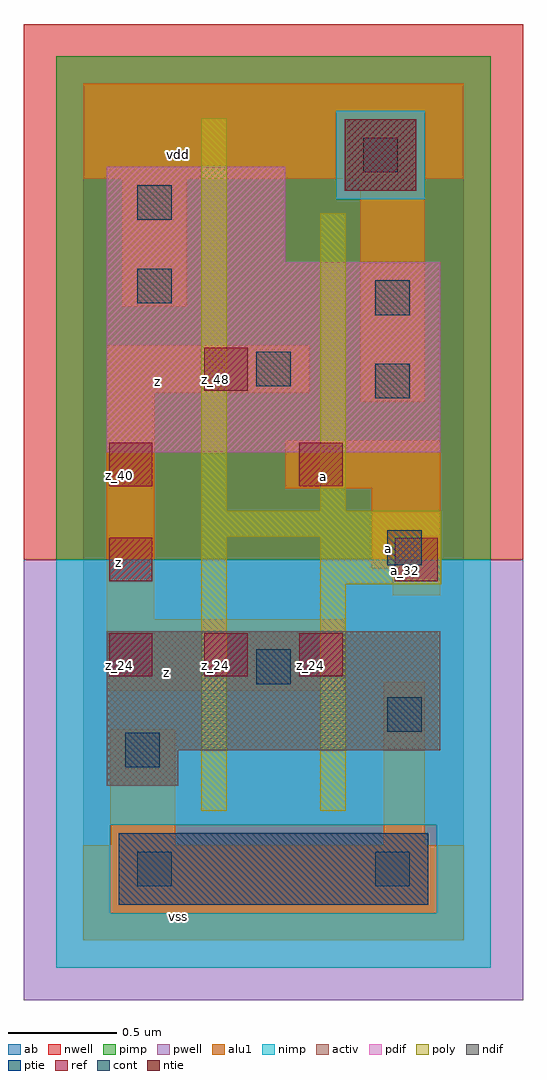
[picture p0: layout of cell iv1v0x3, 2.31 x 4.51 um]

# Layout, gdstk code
import gdstk
lib = gdstk.Library(unit=1e-6, precision=2.5e-09)
def R(c, l, rs):  # rectangles x0, y0, x1, y1
    for r in rs: c.add(gdstk.rectangle(r[:2], r[2:], *l))
def A(c, l, x, y, w, h, nx, ny, dx, dy):  # array of equal rectangles
    R(c, l, [(x+i*dx, y+j*dy, x+i*dx+w, y+j*dy+h) for i in range(nx) for j in range(ny)])
ndif = (3, 0)
pdif = (4, 0)
ntie = (5, 0)
ptie = (6, 0)
ref = (24, 0)
cont = (25, 0)
pwell = (41, 0)
nwell = (42, 0)
activ = (43, 0)
pimp = (44, 0)
nimp = (45, 0)
poly = (46, 0)
alu1 = (49, 0)
ab = (63, 0)

iv1v0x3 = lib.new_cell('iv1v0x3')
R(iv1v0x3, ndif, [(0.11,0.715,0.44,0.88), (0.11,0.88,1.65,1.43)])
R(iv1v0x3, pdif, [(0.11,2.255,1.65,3.135), (0.11,3.135,0.935,3.575)])
R(iv1v0x3, ntie, [(1.21,3.465,1.54,3.795)])
R(iv1v0x3, ptie, [(0.165,0.165,1.595,0.495)])
A(iv1v0x3, ref, 0.12, 1.22, 0.2, 0.2, 3, 1, 0.44, 0)
R(iv1v0x3, ref, [(0.12,1.66,0.32,1.86), (1.44,1.66,1.64,1.86), (0.12,2.1,0.32,2.3), (1,2.1,1.2,2.3), (0.56,2.54,0.76,2.74)])
R(iv1v0x3, cont, [(0.25,0.25,0.41,0.41), (1.35,0.25,1.51,0.41), (0.195,0.8,0.355,0.96), (1.405,0.965,1.565,1.125), (0.8,1.185,0.96,1.345), (1.405,1.735,1.565,1.895), (1.35,2.505,1.51,2.665), (0.8,2.56,0.96,2.72), (1.35,2.89,1.51,3.05), (0.25,2.945,0.41,3.105), (0.25,3.33,0.41,3.49), (1.295,3.55,1.455,3.71)])
R(iv1v0x3, pwell, [(-0.275,-0.275,2.035,1.76)])
R(iv1v0x3, nwell, [(-0.275,1.76,2.035,4.235)])
R(iv1v0x3, activ, [(0.165,0.165,1.595,0.495), (0.11,0.715,0.44,0.88), (0.11,0.88,1.65,1.43), (0.11,2.255,1.65,3.135), (0.11,3.135,0.935,3.575), (1.21,3.465,1.54,3.795)])
R(iv1v0x3, pimp, [(0.125,0.125,1.635,0.535), (-0.125,1.76,1.885,3.425), (-0.125,3.425,1.17,3.835), (1.58,3.425,1.885,3.835), (-0.125,3.835,1.885,4.085)])
R(iv1v0x3, nimp, [(-0.125,-0.125,1.885,0.125), (-0.125,0.125,0.125,0.535), (1.635,0.125,1.885,0.535), (-0.125,0.535,1.885,1.76), (1.17,3.425,1.58,3.835)])
R(iv1v0x3, poly, [(0.545,0.6,0.665,1.865), (1.095,0.6,1.215,1.645), (1.095,1.645,1.655,1.865), (0.545,1.865,1.655,1.985), (0.545,1.985,0.665,3.8), (1.095,1.985,1.215,3.36)])
R(iv1v0x3, alu1, [(0,0,1.76,0.44), (0.125,0.44,0.425,0.975), (1.39,0.44,1.58,1.195), (0.11,1.155,1.21,1.485), (0.11,1.485,0.33,2.53), (1.43,1.595,1.65,1.72), (1.335,1.72,1.65,2.09), (0.935,2.09,1.65,2.31), (1.28,2.49,1.58,3.52), (0.11,2.53,1.045,2.75), (0.18,2.93,0.48,3.52), (0,3.52,1.76,3.96)])
R(iv1v0x3, ab, [(0,0,1.76,3.96)])
iv1v0x3.add(gdstk.Label('vss', (0.44,0.11), layer=49, texttype=0))
iv1v0x3.add(gdstk.Label('z', (0.385,1.2375), layer=49, texttype=0))
iv1v0x3.add(gdstk.Label('a', (1.4125,1.8125), layer=49, texttype=0))
iv1v0x3.add(gdstk.Label('a', (1.1125,2.145), layer=49, texttype=0))
iv1v0x3.add(gdstk.Label('z', (0.165,1.745), layer=49, texttype=0))
iv1v0x3.add(gdstk.Label('z', (0.3425,2.585), layer=49, texttype=0))
iv1v0x3.add(gdstk.Label('vdd', (0.44,3.63), layer=49, texttype=0))
iv1v0x3.add(gdstk.Label('z_24', (0.61,1.27), layer=24, texttype=0))
iv1v0x3.add(gdstk.Label('z_48', (0.61,2.59), layer=24, texttype=0))
iv1v0x3.add(gdstk.Label('z_24', (1.05,1.27), layer=24, texttype=0))
iv1v0x3.add(gdstk.Label('a_40', (1.05,2.15), layer=24, texttype=0))
iv1v0x3.add(gdstk.Label('a_32', (1.49,1.71), layer=24, texttype=0))
iv1v0x3.add(gdstk.Label('z_24', (0.17,1.27), layer=24, texttype=0))
iv1v0x3.add(gdstk.Label('z_32', (0.17,1.71), layer=24, texttype=0))
iv1v0x3.add(gdstk.Label('z_40', (0.17,2.15), layer=24, texttype=0))

lib.write_gds('iv1v0x3.gds')
